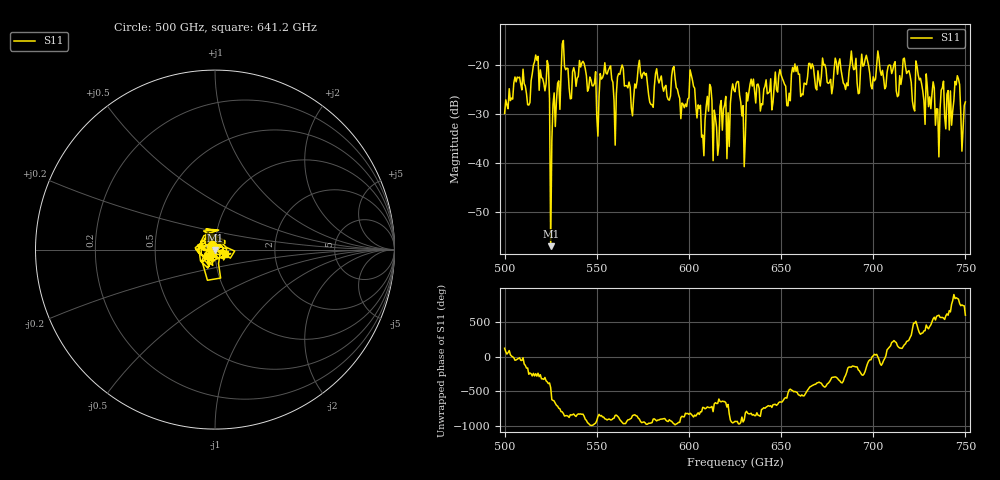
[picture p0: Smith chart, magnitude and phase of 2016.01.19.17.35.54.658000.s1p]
!Created with skrf (http://scikit-rf.org).
# GHz S RI R 50.0
!freq ReS11 ImS11
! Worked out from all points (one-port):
!   401 points, 500 GHz to 750 GHz, reference 50 ohm
!   lowest |S11| = -56.9 dB at 525 GHz (marker M1), VSWR 1.00, Z = 50 - j0.143 ohm
!   |S11| at or under -10 dB: start of sweep to end of sweep
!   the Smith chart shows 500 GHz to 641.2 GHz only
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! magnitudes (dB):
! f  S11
! 500 GHz  -29.9
! 506.9 GHz  -22.5
! 513.1 GHz  -28.2
! 516.9 GHz  -18.1
! 523.1 GHz  -19.2
! 525 GHz  -56.9
! 526.2 GHz  -28.1
! 531.2 GHz  -15.8
! 541.9 GHz  -19.7
! 550 GHz  -30.4
! 562.5 GHz  -22.0
! 569.4 GHz  -30.4
! 573.8 GHz  -21.8
! 579.4 GHz  -28.1
! 593.8 GHz  -25.0
! 601.9 GHz  -23.1
! 607.5 GHz  -34.3
! 611.2 GHz  -24.0
! 614.4 GHz  -30.7
! 625 GHz  -25.5
! 629.4 GHz  -28.3
! 633.8 GHz  -22.9
! 656.2 GHz  -20.6
! 687.5 GHz  -19.7
! 718.8 GHz  -21.4
! 735 GHz  -29.0
! 745.6 GHz  -22.2
! 750 GHz  -27.6
